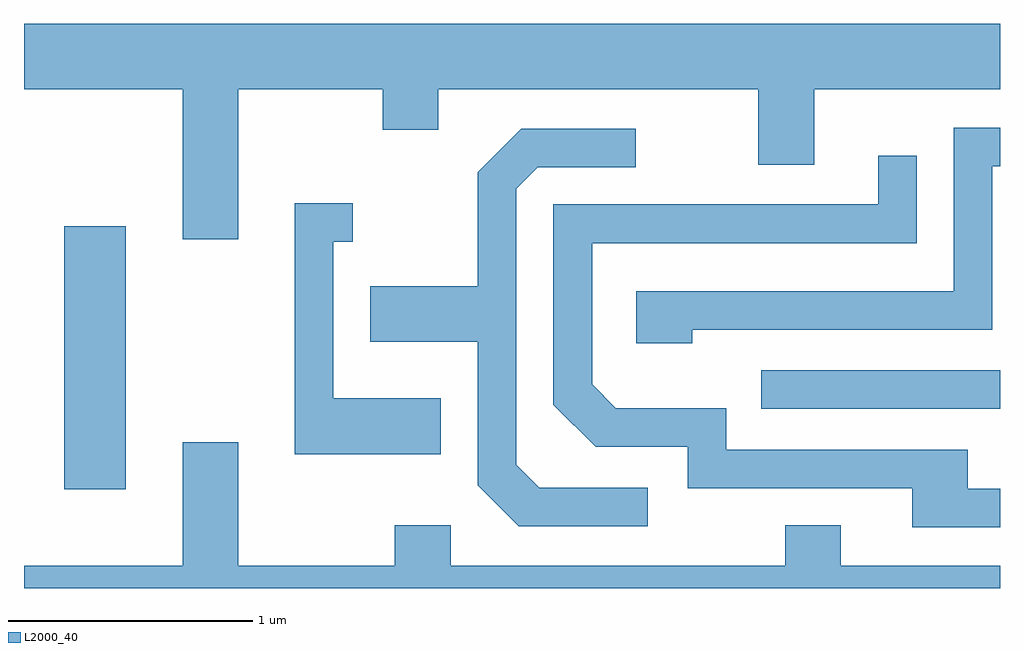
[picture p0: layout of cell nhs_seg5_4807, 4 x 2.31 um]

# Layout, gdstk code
import gdstk
lib = gdstk.Library(unit=1e-6, precision=1e-09)
def R(c, l, rs):  # rectangles x0, y0, x1, y1
    for r in rs: c.add(gdstk.rectangle(r[:2], r[2:], *l))
def P(c, l, *ps):  # polygons
    for p in ps: c.add(gdstk.Polygon(p, *l))
L2000_40 = (2000, 40)

nhs_seg5_4807 = lib.new_cell('nhs_seg5_4807')
R(nhs_seg5_4807, L2000_40, [(327.776,1468.476,328.029,1469.554), (330.633,1468.806,331.611,1468.964)])
P(nhs_seg5_4807, L2000_40, [(328.489,1470.116),(329.081,1470.116),(329.081,1469.951),(329.309,1469.951),(329.309,1470.116),(330.621,1470.116),(330.621,1469.806),(330.849,1469.806),(330.849,1470.116),(331.611,1470.116),(331.611,1470.384),(327.611,1470.384),(327.611,1470.116),(328.261,1470.116),(328.261,1469.501),(328.489,1469.501)],
  [(330.349,1469.131),(331.579,1469.131),(331.579,1469.801),(331.611,1469.801),(331.611,1469.959),(331.421,1469.959),(331.421,1469.289),(330.121,1469.289),(330.121,1469.076),(330.349,1469.076)],
  [(330.168,1468.484),(329.722,1468.484),(329.629,1468.577),(329.629,1469.709),(329.717,1469.796),(330.118,1469.796),(330.118,1469.954),(329.649,1469.954),(329.471,1469.777),(329.471,1469.309),(329.031,1469.309),(329.031,1469.081),(329.471,1469.081),(329.471,1468.494),(329.639,1468.326),(330.168,1468.326)],
  [(331.611,1468.479),(331.479,1468.479),(331.479,1468.639),(330.489,1468.639),(330.489,1468.809),(330.037,1468.809),(329.939,1468.907),(329.939,1469.486),(331.269,1469.486),(331.269,1469.843),(331.111,1469.843),(331.111,1469.644),(329.781,1469.644),(329.781,1468.824),(329.954,1468.651),(330.331,1468.651),(330.331,1468.481),(331.251,1468.481),(331.251,1468.321),(331.611,1468.321)],
  [(329.319,1468.849),(328.879,1468.849),(328.879,1469.491),(328.958,1469.491),(328.958,1469.649),(328.721,1469.649),(328.721,1468.621),(329.319,1468.621)],
  [(331.611,1468.164),(330.959,1468.164),(330.959,1468.329),(330.731,1468.329),(330.731,1468.164),(329.359,1468.164),(329.359,1468.329),(329.131,1468.329),(329.131,1468.164),(328.489,1468.164),(328.489,1468.669),(328.261,1468.669),(328.261,1468.164),(327.611,1468.164),(327.611,1468.072),(331.611,1468.072)])

lib.write_gds('nhs_seg5_4807.gds')
